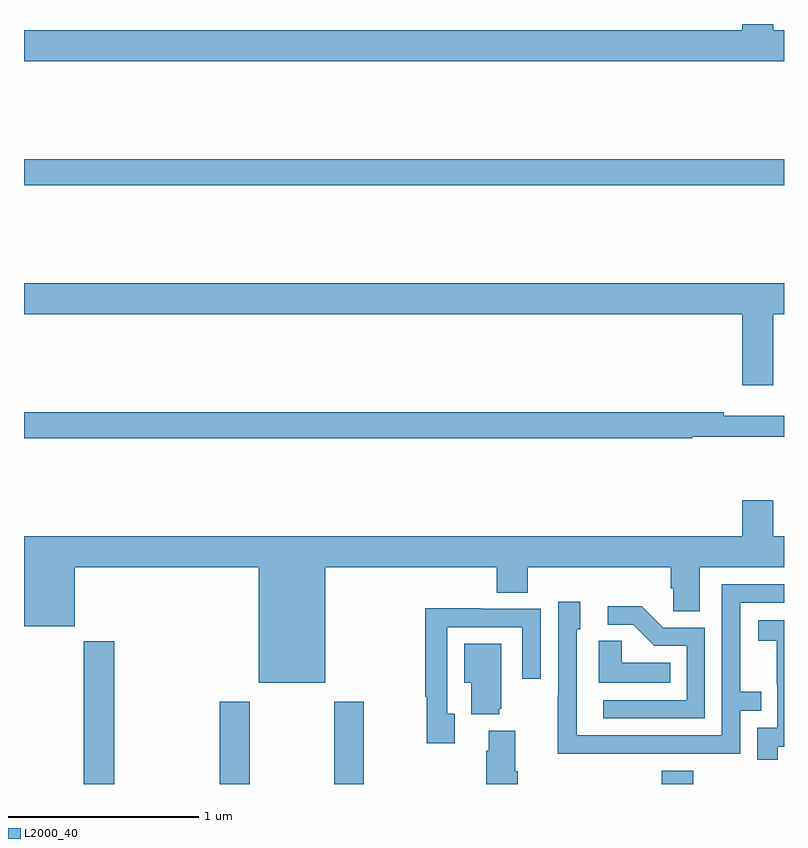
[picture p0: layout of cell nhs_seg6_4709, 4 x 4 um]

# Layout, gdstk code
import gdstk
lib = gdstk.Library(unit=1e-6, precision=1e-09)
def R(c, l, rs):  # rectangles x0, y0, x1, y1
    for r in rs: c.add(gdstk.rectangle(r[:2], r[2:], *l))
def P(c, l, *ps):  # polygons
    for p in ps: c.add(gdstk.Polygon(p, *l))
L2000_40 = (2000, 40)

nhs_seg6_4709 = lib.new_cell('nhs_seg6_4709')
R(nhs_seg6_4709, L2000_40, [(389.314,975.5,389.474,976.252), (390.029,975.5,390.189,975.934), (390.634,975.5,390.789,975.934), (392.357,975.5,392.522,975.571), (389,978.652,393,978.788)])
P(nhs_seg6_4709, L2000_40, [(393,979.468),(392.944,979.468),(392.944,979.5),(392.78,979.5),(392.78,979.468),(389,979.468),(389,979.304),(393,979.304)],
  [(392.944,977.972),(393,977.972),(393,978.136),(389,978.136),(389,977.972),(392.78,977.972),(392.78,977.598),(392.944,977.598)],
  [(392.518,977.328),(393,977.328),(393,977.437),(392.684,977.437),(392.684,977.456),(389,977.456),(389,977.32),(392.518,977.32)],
  [(390.586,976.64),(391.487,976.64),(391.487,976.507),(391.652,976.507),(391.652,976.64),(392.405,976.64),(392.405,976.531),(392.418,976.531),(392.418,976.408),(392.557,976.408),(392.557,976.64),(393,976.64),(393,976.804),(392.944,976.804),(392.944,976.993),(392.78,976.993),(392.78,976.804),(389,976.804),(389,976.331),(389.266,976.331),(389.266,976.64),(390.236,976.64),(390.236,976.034),(390.586,976.034)],
  [(392.273,975.66),(392.769,975.66),(392.769,975.885),(392.879,975.885),(392.879,975.986),(392.769,975.986),(392.769,976.455),(393,976.455),(393,976.551),(392.673,976.551),(392.673,975.756),(391.908,975.756),(391.908,976.314),(391.927,976.314),(391.927,976.459),(391.812,976.459),(391.812,975.965),(391.81,975.965),(391.81,975.659),(392.273,975.659)],
  [(392.583,976.323),(392.364,976.323),(392.251,976.436),(392.073,976.436),(392.073,976.338),(392.207,976.338),(392.318,976.227),(392.487,976.227),(392.487,975.942),(392.049,975.942),(392.049,975.846),(392.583,975.846)],
  [(391.267,975.87),(391.227,975.87),(391.227,976.326),(391.623,976.326),(391.623,976.053),(391.719,976.053),(391.719,976.422),(391.403,976.422),(391.403,976.424),(391.111,976.424),(391.111,975.958),(391.119,975.958),(391.119,975.714),(391.267,975.714)],
  [(392.968,975.697),(393,975.697),(393,976.363),(392.865,976.363),(392.865,976.253),(392.963,976.253),(392.963,976.025),(392.964,976.025),(392.964,975.795),(392.859,975.795),(392.859,975.627),(392.968,975.627)],
  [(392.402,976.138),(392.145,976.138),(392.145,976.253),(392.024,976.253),(392.024,976.034),(392.402,976.034)],
  [(391.502,975.897),(391.513,975.897),(391.513,976.237),(391.316,976.237),(391.316,976.034),(391.355,976.034),(391.355,975.866),(391.502,975.866)],
  [(391.598,975.568),(391.585,975.568),(391.585,975.781),(391.445,975.781),(391.445,975.674),(391.433,975.674),(391.433,975.5),(391.598,975.5)])

lib.write_gds('nhs_seg6_4709.gds')
